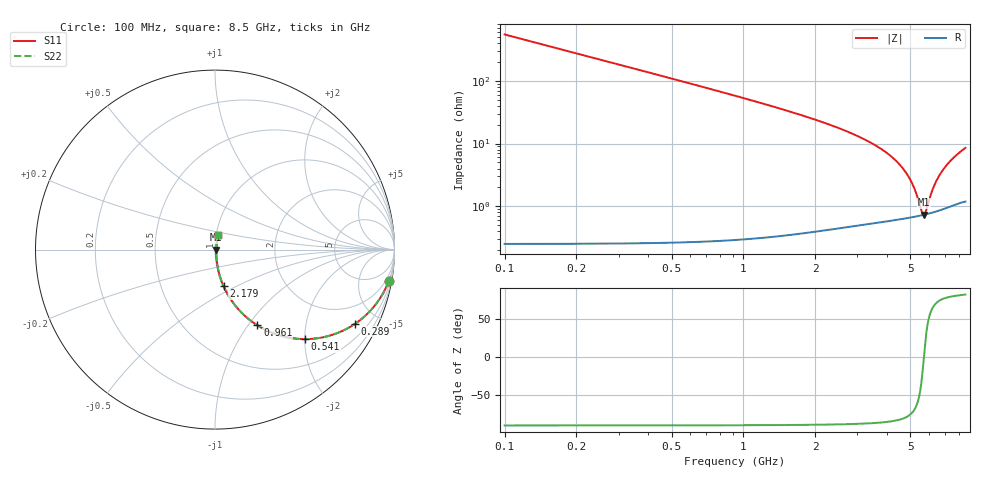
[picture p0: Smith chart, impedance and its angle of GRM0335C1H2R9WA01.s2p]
!Murata Part Number: GRM0335C1H2R9WA01
!These Parameters are Measured in Series Mode Connection
!Data Generated on Mar 30, 2021
!  o--ll--o
!Port1  Port2
!  o------o
!Operation Temp=25[degC], DC Bias Voltage=0[V]
!Freq. Start=100[MHz] Stop=9[GHz] 401[Steps]
# Hz S RI R 50
!Freq.(Hz) S11(Real) S11(Imag) S21(Real) S21(Imag) S12(Real) S12(Imag) S22(Real) S22(Imag)
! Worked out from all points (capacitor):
!   401 points, 100 MHz to 8.5 GHz, reference 50 ohm
!   read as one part in series: C = 2.9 pF near 142 MHz
!   lowest |Z| = 731 mohm at 5.686 GHz (marker M1)
!   series resonance near 5.697 GHz, so ESL is about 270 pH
!   S11 on the Smith chart (normalised r, x): 100 MHz: 1, -11; 289 MHz: 1.01, -3.79; 541 MHz: 1.01, -2.01; 961 MHz: 1.01, -1.11; 2.179 GHz: 1.01, -0.43; 8.5 GHz: 1.02, +0.17
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1e8  0.9678 -0.1764  0.0322 0.1764  0.0322 0.1764  0.9678 -0.1764
2.05e8  0.877 -0.3279  0.123 0.3279  0.123 0.3279  0.877 -0.3279
2.89e8  0.7817 -0.4124  0.2183 0.4124  0.2183 0.4124  0.7817 -0.4124
4.15e8  0.6334 -0.4809  0.3666 0.4809  0.3666 0.4809  0.6334 -0.4809
5.41e8  0.5025 -0.4987  0.4975 0.4987  0.4975 0.4987  0.5025 -0.4987
7.3e8  0.3538 -0.4763  0.6462 0.4763  0.6462 0.4763  0.3538 -0.4763
9.61e8  0.2363 -0.4222  0.7637 0.4222  0.7637 0.4222  0.2363 -0.4222
1.507e9  0.1051 -0.3016  0.8949 0.3016  0.8949 0.3016  0.1051 -0.3016
2.179e9  0.0476 -0.2036  0.9524 0.2036  0.9524 0.2036  0.0476 -0.2036
2.914e9  0.0235 -0.1351  0.9765 0.1351  0.9765 0.1351  0.0235 -0.1351
4.3e9  0.00896 -0.0545  0.991 0.0545  0.991 0.0545  0.00896 -0.0545
5.014e9  0.00719 -0.0246  0.9928 0.0246  0.9928 0.0246  0.00719 -0.0246
5.266e9  0.00705 -0.0152  0.993 0.0152  0.993 0.0152  0.00705 -0.0152
5.581e9  0.00715 -0.00397  0.9928 0.00397  0.9928 0.00397  0.00715 -0.00397
5.686e9  0.00725 -0.000361  0.9927 0.000361  0.9927 0.000361  0.00725 -0.000361
5.707e9  0.00728 0.000354  0.9927 -0.000354  0.9927 -0.000354  0.00728 0.000354
5.812e9  0.00741 0.00389  0.9926 -0.00389  0.9926 -0.00389  0.00741 0.00389
6.127e9  0.00799 0.0142  0.992 -0.0142  0.992 -0.0142  0.00799 0.0142
6.358e9  0.00857 0.0215  0.9914 -0.0215  0.9914 -0.0215  0.00857 0.0215
6.694e9  0.00964 0.0317  0.9904 -0.0317  0.9904 -0.0317  0.00964 0.0317
7.114e9  0.0113 0.044  0.9887 -0.044  0.9887 -0.044  0.0113 0.044
8.5e9  0.0186 0.082  0.9814 -0.082  0.9814 -0.082  0.0186 0.082
